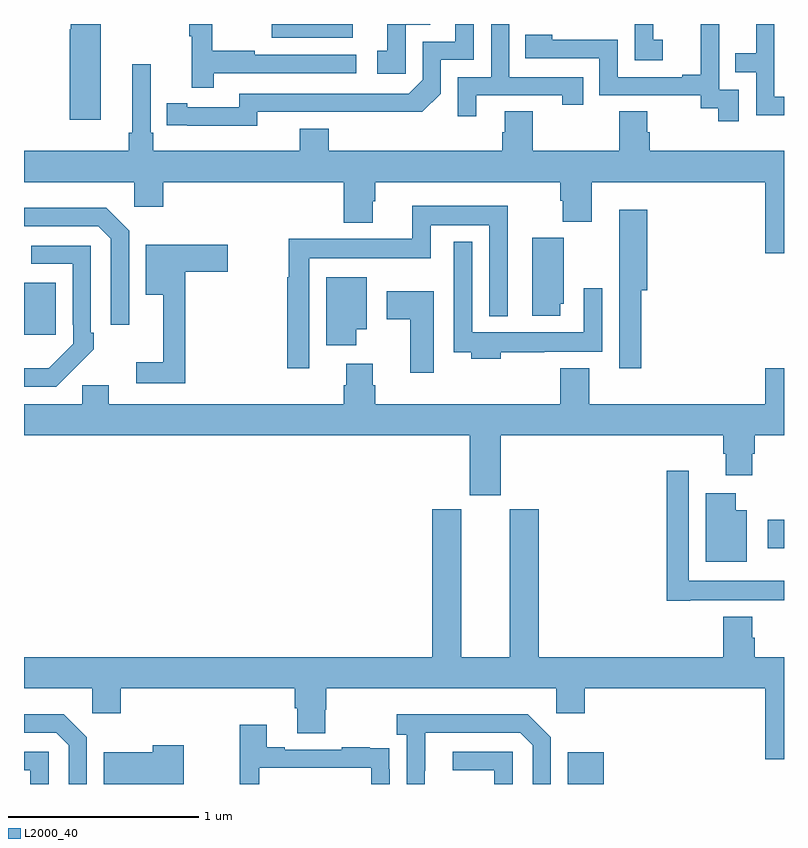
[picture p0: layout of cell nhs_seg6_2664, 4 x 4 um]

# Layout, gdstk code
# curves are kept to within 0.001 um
import gdstk
lib = gdstk.Library(unit=1e-6, precision=1e-09)
def R(c, l, rs):  # rectangles x0, y0, x1, y1
    for r in rs: c.add(gdstk.rectangle(r[:2], r[2:], *l))
def P(c, l, *ps):  # polygons
    for p in ps: c.add(gdstk.Polygon(p, *l))
L2000_40 = (2000, 40)

nhs_seg6_2664 = lib.new_cell('nhs_seg6_2664')
R(nhs_seg6_2664, L2000_40, [(271.862,945.5,272.05,945.667), (272.915,946.742,273,946.89), (269,947.865,269.167,948.139), (270.303,949.427,270.73,949.5)])
P(nhs_seg6_2664, L2000_40, [(273,949.116),(272.949,949.116),(272.949,949.5),(272.853,949.5),(272.853,949.346),(272.743,949.346),(272.743,949.245),(272.853,949.245),(272.853,949.02),(273,949.02)],
  [(272.362,949.417),(272.313,949.417),(272.313,949.5),(272.214,949.5),(272.214,949.308),(272.362,949.308)],
  [(271.381,949.125),(271.832,949.125),(271.832,949.074),(271.943,949.074),(271.943,949.221),(271.554,949.221),(271.554,949.5),(271.458,949.5),(271.458,949.221),(271.284,949.221),(271.284,949.014),(271.381,949.014)],
  [(269.999,949.242),(270.748,949.242),(270.748,949.338),(270.215,949.338),(270.215,949.358),(269.992,949.358),(269.992,949.5),(269.871,949.5),(269.871,949.435),(269.882,949.435),(269.882,949.164),(269.999,949.164)],
  [(272.763,949.155),(272.658,949.155),(272.658,949.385),(272.66,949.385),(272.66,949.5),(272.561,949.5),(272.561,949.234),(272.465,949.234),(272.465,949.221),(272.124,949.221),(272.124,949.416),(271.779,949.416),(271.779,949.443),(271.639,949.443),(271.639,949.32),(272.028,949.32),(272.028,949.125),(272.562,949.125),(272.562,949.057),(272.655,949.057),(272.655,948.987),(272.763,948.987)],
  [(270.228,949.038),(271.096,949.037),(271.194,949.134),(271.194,949.311),(271.368,949.311),(271.368,949.5),(271.271,949.5),(271.271,949.407),(271.098,949.407),(271.098,949.206),(271.026,949.134),(270.132,949.134),(270.132,949.062),(269.86,949.062),(269.86,949.082),(269.752,949.082),(269.752,948.966),(270.228,948.965)],
  [(271.008,949.497),(271.137,949.497),(271.137,949.5),(270.911,949.5),(270.911,949.359),(270.858,949.359),(270.858,949.239),(271.008,949.239)],
  [(269.404,949.5),(269.246,949.5),(269.246,949.473),(269.24,949.473),(269.24,948.996),(269.404,948.996)],
  [(273,948.832),(272.294,948.832),(272.294,948.93),(272.281,948.93),(272.281,949.04),(272.134,949.04),(272.134,948.832),(271.677,948.832),(271.677,949.04),(271.529,949.04),(271.529,948.93),(271.517,948.93),(271.517,948.832),(270.605,948.832),(270.605,948.949),(270.452,948.949),(270.452,948.832),(269.681,948.832),(269.681,948.928),(269.667,948.928),(269.667,949.288),(269.57,949.288),(269.57,948.928),(269.551,948.928),(269.551,948.832),(269,948.832),(269,948.668),(269.58,948.668),(269.58,948.537),(269.732,948.537),(269.732,948.668),(270.683,948.668),(270.683,948.455),(270.835,948.455),(270.835,948.567),(270.848,948.567),(270.848,948.668),(271.823,948.668),(271.823,948.569),(271.835,948.569),(271.835,948.46),(271.988,948.46),(271.988,948.668),(272.9,948.668),(272.9,948.294),(273,948.294)],
  [(270.501,948.266),(271.14,948.266),(271.14,948.44),(271.449,948.44),(271.449,947.963),(271.546,947.963),(271.546,948.544),(271.043,948.544),(271.043,948.37),(270.393,948.37),(270.393,948.166),(270.385,948.166),(270.385,947.688),(270.501,947.688)],
  [(269.553,948.411),(269.432,948.532),(269,948.532),(269,948.435),(269.391,948.435),(269.457,948.369),(269.457,947.916),(269.553,947.916)],
  [(272.249,948.098),(272.279,948.098),(272.279,948.523),(272.132,948.523),(272.132,948.202),(272.133,948.202),(272.133,947.688),(272.249,947.688)],
  [(271.822,948.027),(271.84,948.027),(271.84,948.375),(271.676,948.375),(271.676,947.964),(271.822,947.964)],
  [(271.508,947.772),(271.739,947.772),(271.739,947.774),(272.043,947.774),(272.043,948.109),(271.947,948.109),(271.947,947.878),(271.359,947.878),(271.359,948.355),(271.263,948.355),(271.263,947.772),(271.355,947.772),(271.355,947.738),(271.508,947.738)],
  [(269.849,948.197),(270.073,948.197),(270.073,948.339),(269.642,948.339),(269.642,948.074),(269.732,948.074),(269.732,947.719),(269.592,947.719),(269.592,947.61),(269.849,947.61)],
  [(269.261,947.683),(269.262,947.682),(269.367,947.787),(269.367,947.875),(269.352,947.875),(269.352,948.333),(269.037,948.333),(269.037,948.237),(269.256,948.237),(269.256,947.917),(269.259,947.917),(269.259,947.817),(269.131,947.689),(269,947.688),(269,947.592),(269.17,947.592)],
  [(270.748,947.894),(270.805,947.894),(270.805,948.166),(270.59,948.166),(270.59,947.808),(270.748,947.808)],
  [(271.156,948.094),(270.909,948.094),(270.909,947.947),(271.034,947.947),(271.034,947.664),(271.156,947.664)],
  [(271.51,947.336),(272.681,947.336),(272.681,947.238),(272.693,947.238),(272.693,947.124),(272.833,947.124),(272.833,947.238),(272.846,947.238),(272.846,947.336),(273,947.336),(273,947.689),(272.9,947.689),(272.9,947.5),(271.975,947.5),(271.975,947.689),(271.823,947.689),(271.823,947.5),(270.848,947.5),(270.848,947.598),(270.835,947.598),(270.835,947.713),(270.695,947.713),(270.695,947.598),(270.683,947.598),(270.683,947.5),(269.446,947.5),(269.446,947.598),(269.307,947.598),(269.307,947.5),(269,947.5),(269,947.336),(271.346,947.336),(271.346,947.019),(271.51,947.019)],
  [(272.506,946.466),(273,946.466),(273,946.57),(272.499,946.57),(272.499,947.149),(272.383,947.149),(272.383,946.464),(272.506,946.464)],
  [(272.803,946.942),(272.746,946.942),(272.746,947.029),(272.588,947.029),(272.588,946.67),(272.803,946.67)],
  [(273,946.168),(272.846,946.168),(272.846,946.269),(272.833,946.269),(272.833,946.381),(272.681,946.381),(272.681,946.168),(271.709,946.168),(271.709,946.947),(271.556,946.947),(271.556,946.168),(271.3,946.168),(271.3,946.947),(271.148,946.947),(271.148,946.168),(269,946.168),(269,946.004),(269.358,946.004),(269.358,945.873),(269.51,945.873),(269.51,946.004),(270.425,946.004),(270.425,945.898),(270.437,945.898),(270.437,945.766),(270.585,945.766),(270.585,945.891),(270.59,945.891),(270.59,946.004),(271.8,946.004),(271.8,945.873),(271.952,945.873),(271.952,946.004),(272.9,946.004),(272.9,945.63),(273,945.63)],
  [(271.11,945.571),(271.111,945.771),(271.611,945.771),(271.677,945.705),(271.677,945.5),(271.773,945.5),(271.773,945.747),(271.652,945.868),(270.963,945.868),(270.963,945.758),(271.014,945.758),(271.014,945.5),(271.11,945.5)],
  [(269.331,945.747),(269.21,945.868),(269,945.868),(269,945.771),(269.169,945.771),(269.235,945.705),(269.235,945.5),(269.331,945.5)],
  [(270.237,945.585),(270.828,945.585),(270.828,945.5),(270.924,945.5),(270.924,945.578),(270.923,945.578),(270.923,945.687),(270.821,945.687),(270.821,945.694),(270.673,945.694),(270.673,945.681),(270.373,945.681),(270.373,945.694),(270.277,945.694),(270.277,945.811),(270.136,945.811),(270.136,945.5),(270.237,945.5)],
  [(269.842,945.703),(269.677,945.703),(269.677,945.667),(269.42,945.667),(269.42,945.5),(269.842,945.5)],
  [(269.13,945.669),(269,945.669),(269,945.573),(269.034,945.573),(269.034,945.5),(269.13,945.5)],
  [(271.572,945.669),(271.257,945.669),(271.257,945.573),(271.476,945.573),(271.476,945.5),(271.572,945.5)])

lib.write_gds('nhs_seg6_2664.gds')
